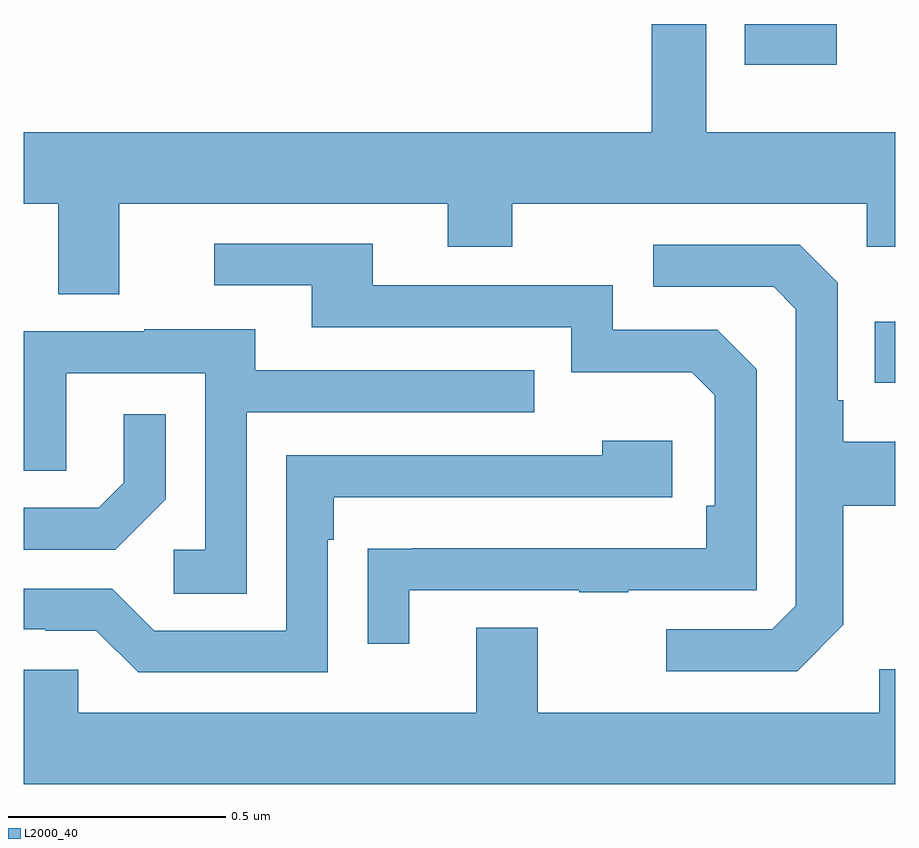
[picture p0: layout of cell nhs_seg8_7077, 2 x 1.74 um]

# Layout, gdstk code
import gdstk
lib = gdstk.Library(unit=1e-6, precision=1e-09)
def R(c, l, rs):  # rectangles x0, y0, x1, y1
    for r in rs: c.add(gdstk.rectangle(r[:2], r[2:], *l))
def P(c, l, *ps):  # polygons
    for p in ps: c.add(gdstk.Polygon(p, *l))
L2000_40 = (2000, 40)

nhs_seg8_7077 = lib.new_cell('nhs_seg8_7077')
R(nhs_seg8_7077, L2000_40, [(206.953,1128.077,207,1128.217), (206.654,1128.806,206.866,1128.9)])
P(nhs_seg8_7077, L2000_40, [(205.219,1128.488),(205.973,1128.488),(205.973,1128.389),(206.121,1128.389),(206.121,1128.488),(206.934,1128.488),(206.934,1128.389),(207,1128.389),(207,1128.652),(206.566,1128.652),(206.566,1128.9),(206.441,1128.9),(206.441,1128.652),(205,1128.652),(205,1128.488),(205.079,1128.488),(205.079,1128.28),(205.219,1128.28)],
  [(205.885,1127.601),(206.275,1127.601),(206.275,1127.596),(206.387,1127.596),(206.387,1127.601),(206.682,1127.601),(206.682,1128.108),(206.592,1128.198),(206.352,1128.198),(206.352,1128.3),(205.801,1128.3),(205.801,1128.396),(205.437,1128.396),(205.437,1128.3),(205.661,1128.3),(205.661,1128.204),(206.256,1128.204),(206.256,1128.101),(206.533,1128.101),(206.586,1128.048),(206.586,1127.794),(206.566,1127.794),(206.566,1127.697),(205.891,1127.697),(205.891,1127.696),(205.789,1127.696),(205.789,1127.478),(205.885,1127.478)],
  [(206.881,1127.521),(206.881,1127.794),(207,1127.794),(207,1127.941),(206.881,1127.941),(206.881,1128.037),(206.868,1128.037),(206.868,1128.306),(206.781,1128.393),(206.445,1128.393),(206.445,1128.297),(206.721,1128.297),(206.772,1128.246),(206.772,1127.565),(206.718,1127.511),(206.475,1127.511),(206.475,1127.415),(206.775,1127.415)],
  [(205.512,1128.009),(206.171,1128.009),(206.171,1128.105),(205.531,1128.105),(205.531,1128.199),(205.277,1128.199),(205.277,1128.195),(205,1128.195),(205,1127.875),(205.098,1127.875),(205.098,1128.099),(205.416,1128.099),(205.416,1127.694),(205.344,1127.694),(205.344,1127.593),(205.512,1127.593)],
  [(205.326,1127.81),(205.326,1128.004),(205.229,1128.004),(205.229,1127.847),(205.172,1127.79),(205,1127.79),(205,1127.694),(205.21,1127.694)],
  [(205.698,1127.717),(205.711,1127.717),(205.711,1127.814),(206.488,1127.814),(206.488,1127.944),(206.327,1127.944),(206.327,1127.91),(205.602,1127.91),(205.602,1127.508),(205.299,1127.508),(205.203,1127.604),(205,1127.604),(205,1127.511),(205.049,1127.511),(205.049,1127.508),(205.167,1127.508),(205.263,1127.412),(205.698,1127.412)],
  [(207,1127.419),(206.963,1127.419),(206.963,1127.32),(206.179,1127.32),(206.179,1127.515),(206.039,1127.515),(206.039,1127.32),(205.125,1127.32),(205.125,1127.418),(205,1127.418),(205,1127.156),(207,1127.156)])

lib.write_gds('nhs_seg8_7077.gds')
